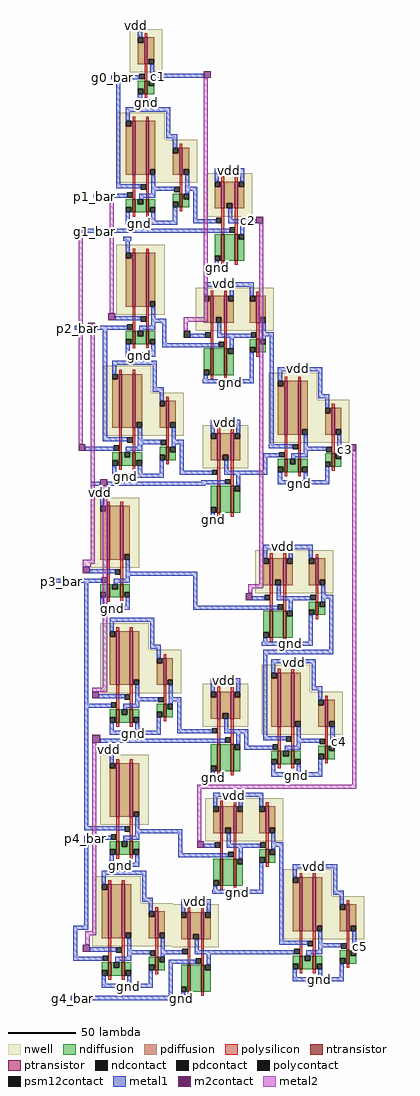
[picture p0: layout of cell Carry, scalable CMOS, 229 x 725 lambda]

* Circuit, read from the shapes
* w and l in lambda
.subckt Carry c1 c2 c3 c4 c5 g0_bar g1_bar g2_bar g3_bar g4_bar gnd p1_bar p2_bar p3_bar p4_bar vdd
M1 n1 p3_bar gnd c1 nfet w=10 l=2
M2 n2 p4_bar gnd c1 nfet w=10 l=2
M3 n3 p4_bar gnd c1 nfet w=10 l=2
M4 n4 p3_bar gnd c1 nfet w=10 l=2
M5 n5 g1_bar gnd c1 nfet w=10 l=2
M6 gnd p2_bar n1 c1 nfet w=10 l=2
M7 gnd g3_bar n2 c1 nfet w=10 l=2
M8 gnd p3_bar n3 c1 nfet w=10 l=2
M9 gnd g2_bar n4 c1 nfet w=10 l=2
M10 gnd p2_bar n5 c1 nfet w=10 l=2
M11 n6 p2_bar gnd c1 nfet w=10 l=2
M12 n7 p1_bar gnd c1 nfet w=10 l=2
M13 c1 g0_bar gnd c1 nfet w=10 l=2
M14 gnd p1_bar n6 c1 nfet w=10 l=2
M15 gnd g0_bar n7 c1 nfet w=10 l=2
M16 n8 n2 gnd c1 nfet w=10 l=2
M17 n9 n4 gnd c1 nfet w=10 l=2
M18 n10 n5 gnd c1 nfet w=10 l=2
M19 n11 n7 gnd c1 nfet w=10 l=2
M20 n12 n8 gnd c1 nfet w=20 l=2
M21 n13 g4_bar n12 c1 nfet w=20 l=2
M22 n14 c1 gnd c1 nfet w=20 l=2
M23 n15 n9 gnd c1 nfet w=20 l=2
M24 n16 n10 gnd c1 nfet w=20 l=2
M25 n17 c3 gnd c1 nfet w=20 l=2
M26 n18 n11 gnd c1 nfet w=20 l=2
M27 n19 n6 n14 c1 nfet w=20 l=2
M28 n20 g3_bar n15 c1 nfet w=20 l=2
M29 n21 g2_bar n16 c1 nfet w=20 l=2
M30 n22 n3 n17 c1 nfet w=20 l=2
M31 c2 g1_bar n18 c1 nfet w=20 l=2
M32 n23 n19 gnd c1 nfet w=10 l=2
M33 n24 n22 gnd c1 nfet w=10 l=2
M34 n25 c2 gnd c1 nfet w=20 l=2
M35 n26 n20 gnd c1 nfet w=10 l=2
M36 n27 n1 n25 c1 nfet w=20 l=2
M37 n28 n21 gnd c1 nfet w=10 l=2
M38 gnd n29 n26 c1 nfet w=10 l=2
M39 gnd n23 n28 c1 nfet w=10 l=2
M40 n30 n13 gnd c1 nfet w=10 l=2
M41 gnd n24 n30 c1 nfet w=10 l=2
M42 n29 n27 gnd c1 nfet w=10 l=2
M43 c4 n26 gnd c1 nfet w=10 l=2
M44 c3 n28 gnd c1 nfet w=10 l=2
M45 c5 n30 gnd c1 nfet w=10 l=2
M46 n31 p3_bar vdd n32 pfet w=40 l=2
M47 n33 p4_bar vdd n34 pfet w=40 l=2
M48 n35 p4_bar vdd n36 pfet w=40 l=2
M49 n37 p3_bar vdd n38 pfet w=40 l=2
M50 n39 g1_bar vdd n40 pfet w=40 l=2
M51 n1 p2_bar n31 n32 pfet w=40 l=2
M52 n2 g3_bar n33 n34 pfet w=40 l=2
M53 n3 p3_bar n35 n36 pfet w=40 l=2
M54 n4 g2_bar n37 n38 pfet w=40 l=2
M55 n5 p2_bar n39 n40 pfet w=40 l=2
M56 n41 p2_bar vdd n42 pfet w=40 l=2
M57 n43 p1_bar vdd n44 pfet w=40 l=2
M58 c1 g0_bar vdd n45 pfet w=20 l=2
M59 n6 p1_bar n41 n42 pfet w=40 l=2
M60 n7 g0_bar n43 n44 pfet w=40 l=2
M61 n8 n2 vdd n34 pfet w=20 l=2
M62 n9 n4 vdd n38 pfet w=20 l=2
M63 n10 n5 vdd n40 pfet w=20 l=2
M64 n11 n7 vdd n44 pfet w=20 l=2
M65 n13 n8 vdd n34 pfet w=20 l=2
M66 vdd g4_bar n13 n34 pfet w=20 l=2
M67 n19 c1 vdd n46 pfet w=20 l=2
M68 n20 n9 vdd n47 pfet w=20 l=2
M69 n21 n10 vdd n48 pfet w=20 l=2
M70 n22 c3 vdd n49 pfet w=20 l=2
M71 c2 n11 vdd n50 pfet w=20 l=2
M72 vdd n6 n19 n46 pfet w=20 l=2
M73 vdd g3_bar n20 n47 pfet w=20 l=2
M74 vdd g2_bar n21 n48 pfet w=20 l=2
M75 vdd n3 n22 n49 pfet w=20 l=2
M76 vdd g1_bar c2 n50 pfet w=20 l=2
M77 n23 n19 vdd n46 pfet w=20 l=2
M78 n24 n22 vdd n49 pfet w=20 l=2
M79 n27 c2 vdd n51 pfet w=20 l=2
M80 n52 n20 vdd n53 pfet w=40 l=2
M81 vdd n1 n27 n51 pfet w=20 l=2
M82 n54 n21 vdd n55 pfet w=40 l=2
M83 n26 n29 n52 n53 pfet w=40 l=2
M84 n28 n23 n54 n55 pfet w=40 l=2
M85 n56 n13 vdd n57 pfet w=40 l=2
M86 n30 n24 n56 n57 pfet w=40 l=2
M87 n29 n27 vdd n51 pfet w=20 l=2
M88 c4 n26 vdd n53 pfet w=20 l=2
M89 c3 n28 vdd n55 pfet w=20 l=2
M90 c5 n30 vdd n57 pfet w=20 l=2
.ends

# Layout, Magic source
magic
tech scmos
<< nwell >>
rect 0 83 24 115
rect -10 33 26 53
rect -10 1 50 33
rect 57 -24 91 8
rect -10 -97 26 -45
rect 49 -109 107 -77
rect -20 -155 16 -135
rect -20 -187 40 -155
rect 103 -160 139 -140
rect 54 -211 88 -179
rect 103 -192 163 -160
rect -29 -285 7 -233
rect 93 -304 151 -272
rect -22 -346 14 -326
rect -22 -378 38 -346
rect 54 -403 88 -371
rect 98 -377 134 -357
rect 98 -409 158 -377
rect -22 -476 14 -424
rect 56 -488 114 -456
rect -28 -534 8 -514
rect 114 -529 150 -509
rect -28 -535 32 -534
rect -28 -566 66 -535
rect 114 -561 174 -529
rect 32 -567 66 -566
<< ntransistor >>
rect 11 67 13 77
rect 2 -21 4 -11
rect 12 -21 14 -11
rect 37 -17 39 -7
rect 68 -57 70 -37
rect 78 -57 80 -37
rect 2 -119 4 -109
rect 12 -119 14 -109
rect 60 -142 62 -122
rect 70 -142 72 -122
rect 94 -125 96 -115
rect -8 -209 -6 -199
rect 2 -209 4 -199
rect 27 -205 29 -195
rect 115 -214 117 -204
rect 125 -214 127 -204
rect 150 -210 152 -200
rect 65 -244 67 -224
rect 75 -244 77 -224
rect -17 -307 -15 -297
rect -7 -307 -5 -297
rect 104 -337 106 -317
rect 114 -337 116 -317
rect 138 -320 140 -310
rect -10 -400 -8 -390
rect 0 -400 2 -390
rect 25 -396 27 -386
rect 65 -436 67 -416
rect 75 -436 77 -416
rect 110 -431 112 -421
rect 120 -431 122 -421
rect 145 -427 147 -417
rect -10 -498 -8 -488
rect 0 -498 2 -488
rect 67 -521 69 -501
rect 77 -521 79 -501
rect 101 -504 103 -494
rect -16 -588 -14 -578
rect -6 -588 -4 -578
rect 19 -584 21 -574
rect 43 -600 45 -580
rect 53 -600 55 -580
rect 126 -583 128 -573
rect 136 -583 138 -573
rect 161 -579 163 -569
<< ptransistor >>
rect 11 89 13 109
rect 2 7 4 47
rect 12 7 14 47
rect 37 7 39 27
rect 68 -18 70 2
rect 78 -18 80 2
rect 2 -91 4 -51
rect 12 -91 14 -51
rect 60 -103 62 -83
rect 70 -103 72 -83
rect 94 -103 96 -83
rect -8 -181 -6 -141
rect 2 -181 4 -141
rect 27 -181 29 -161
rect 65 -205 67 -185
rect 75 -205 77 -185
rect 115 -186 117 -146
rect 125 -186 127 -146
rect 150 -186 152 -166
rect -17 -279 -15 -239
rect -7 -279 -5 -239
rect 104 -298 106 -278
rect 114 -298 116 -278
rect 138 -298 140 -278
rect -10 -372 -8 -332
rect 0 -372 2 -332
rect 25 -372 27 -352
rect 65 -397 67 -377
rect 75 -397 77 -377
rect 110 -403 112 -363
rect 120 -403 122 -363
rect 145 -403 147 -383
rect -10 -470 -8 -430
rect 0 -470 2 -430
rect 67 -482 69 -462
rect 77 -482 79 -462
rect 101 -482 103 -462
rect -16 -560 -14 -520
rect -6 -560 -4 -520
rect 19 -560 21 -540
rect 43 -561 45 -541
rect 53 -561 55 -541
rect 126 -555 128 -515
rect 136 -555 138 -515
rect 161 -555 163 -535
<< ndiffusion >>
rect 6 71 11 77
rect 10 67 11 71
rect 13 73 14 77
rect 13 67 18 73
rect -3 -17 2 -11
rect 1 -21 2 -17
rect 4 -15 6 -11
rect 10 -15 12 -11
rect 4 -21 12 -15
rect 14 -17 19 -11
rect 32 -13 37 -7
rect 36 -17 37 -13
rect 39 -11 40 -7
rect 39 -17 44 -11
rect 14 -21 15 -17
rect 63 -53 68 -37
rect 67 -57 68 -53
rect 70 -57 78 -37
rect 80 -41 81 -37
rect 80 -57 85 -41
rect -3 -115 2 -109
rect 1 -119 2 -115
rect 4 -113 6 -109
rect 10 -113 12 -109
rect 4 -119 12 -113
rect 14 -115 19 -109
rect 14 -119 15 -115
rect 89 -121 94 -115
rect 55 -138 60 -122
rect 59 -142 60 -138
rect 62 -142 70 -122
rect 72 -126 73 -122
rect 93 -125 94 -121
rect 96 -119 97 -115
rect 96 -125 101 -119
rect 72 -142 77 -126
rect -13 -205 -8 -199
rect -9 -209 -8 -205
rect -6 -203 -4 -199
rect 0 -203 2 -199
rect -6 -209 2 -203
rect 4 -205 9 -199
rect 22 -201 27 -195
rect 26 -205 27 -201
rect 29 -199 30 -195
rect 29 -205 34 -199
rect 4 -209 5 -205
rect 110 -210 115 -204
rect 114 -214 115 -210
rect 117 -208 119 -204
rect 123 -208 125 -204
rect 117 -214 125 -208
rect 127 -210 132 -204
rect 145 -206 150 -200
rect 149 -210 150 -206
rect 152 -204 153 -200
rect 152 -210 157 -204
rect 127 -214 128 -210
rect 60 -240 65 -224
rect 64 -244 65 -240
rect 67 -244 75 -224
rect 77 -228 78 -224
rect 77 -244 82 -228
rect -22 -303 -17 -297
rect -18 -307 -17 -303
rect -15 -301 -13 -297
rect -9 -301 -7 -297
rect -15 -307 -7 -301
rect -5 -303 0 -297
rect -5 -307 -4 -303
rect 133 -316 138 -310
rect 99 -333 104 -317
rect 103 -337 104 -333
rect 106 -337 114 -317
rect 116 -321 117 -317
rect 137 -320 138 -316
rect 140 -314 141 -310
rect 140 -320 145 -314
rect 116 -337 121 -321
rect -15 -396 -10 -390
rect -11 -400 -10 -396
rect -8 -394 -6 -390
rect -2 -394 0 -390
rect -8 -400 0 -394
rect 2 -396 7 -390
rect 20 -392 25 -386
rect 24 -396 25 -392
rect 27 -390 28 -386
rect 27 -396 32 -390
rect 2 -400 3 -396
rect 60 -432 65 -416
rect 64 -436 65 -432
rect 67 -436 75 -416
rect 77 -420 78 -416
rect 77 -436 82 -420
rect 105 -427 110 -421
rect 109 -431 110 -427
rect 112 -425 114 -421
rect 118 -425 120 -421
rect 112 -431 120 -425
rect 122 -427 127 -421
rect 140 -423 145 -417
rect 144 -427 145 -423
rect 147 -421 148 -417
rect 147 -427 152 -421
rect 122 -431 123 -427
rect -15 -494 -10 -488
rect -11 -498 -10 -494
rect -8 -492 -6 -488
rect -2 -492 0 -488
rect -8 -498 0 -492
rect 2 -494 7 -488
rect 2 -498 3 -494
rect 96 -500 101 -494
rect 62 -517 67 -501
rect 66 -521 67 -517
rect 69 -521 77 -501
rect 79 -505 80 -501
rect 100 -504 101 -500
rect 103 -498 104 -494
rect 103 -504 108 -498
rect 79 -521 84 -505
rect -21 -584 -16 -578
rect -17 -588 -16 -584
rect -14 -582 -12 -578
rect -8 -582 -6 -578
rect -14 -588 -6 -582
rect -4 -584 1 -578
rect 14 -580 19 -574
rect 18 -584 19 -580
rect 21 -578 22 -574
rect 21 -584 26 -578
rect 121 -579 126 -573
rect -4 -588 -3 -584
rect 38 -596 43 -580
rect 42 -600 43 -596
rect 45 -600 53 -580
rect 55 -584 56 -580
rect 125 -583 126 -579
rect 128 -577 130 -573
rect 134 -577 136 -573
rect 128 -583 136 -577
rect 138 -579 143 -573
rect 156 -575 161 -569
rect 160 -579 161 -575
rect 163 -573 164 -569
rect 163 -579 168 -573
rect 138 -583 139 -579
rect 55 -600 60 -584
<< pdiffusion >>
rect 10 105 11 109
rect 6 89 11 105
rect 13 93 18 109
rect 13 89 14 93
rect 1 43 2 47
rect -3 7 2 43
rect 4 7 12 47
rect 14 11 19 47
rect 14 7 15 11
rect 36 23 37 27
rect 32 7 37 23
rect 39 11 44 27
rect 39 7 40 11
rect 67 -2 68 2
rect 63 -18 68 -2
rect 70 -14 78 2
rect 70 -18 72 -14
rect 76 -18 78 -14
rect 80 -2 81 2
rect 80 -18 85 -2
rect 1 -55 2 -51
rect -3 -91 2 -55
rect 4 -91 12 -51
rect 14 -87 19 -51
rect 14 -91 15 -87
rect 59 -87 60 -83
rect 55 -103 60 -87
rect 62 -99 70 -83
rect 62 -103 64 -99
rect 68 -103 70 -99
rect 72 -87 73 -83
rect 72 -103 77 -87
rect 93 -87 94 -83
rect 89 -103 94 -87
rect 96 -99 101 -83
rect 96 -103 97 -99
rect -9 -145 -8 -141
rect -13 -181 -8 -145
rect -6 -181 2 -141
rect 4 -177 9 -141
rect 114 -150 115 -146
rect 4 -181 5 -177
rect 26 -165 27 -161
rect 22 -181 27 -165
rect 29 -177 34 -161
rect 29 -181 30 -177
rect 64 -189 65 -185
rect 60 -205 65 -189
rect 67 -201 75 -185
rect 67 -205 69 -201
rect 73 -205 75 -201
rect 77 -189 78 -185
rect 110 -186 115 -150
rect 117 -186 125 -146
rect 127 -182 132 -146
rect 127 -186 128 -182
rect 149 -170 150 -166
rect 145 -186 150 -170
rect 152 -182 157 -166
rect 152 -186 153 -182
rect 77 -205 82 -189
rect -18 -243 -17 -239
rect -22 -279 -17 -243
rect -15 -279 -7 -239
rect -5 -275 0 -239
rect -5 -279 -4 -275
rect 103 -282 104 -278
rect 99 -298 104 -282
rect 106 -294 114 -278
rect 106 -298 108 -294
rect 112 -298 114 -294
rect 116 -282 117 -278
rect 116 -298 121 -282
rect 137 -282 138 -278
rect 133 -298 138 -282
rect 140 -294 145 -278
rect 140 -298 141 -294
rect -11 -336 -10 -332
rect -15 -372 -10 -336
rect -8 -372 0 -332
rect 2 -368 7 -332
rect 2 -372 3 -368
rect 24 -356 25 -352
rect 20 -372 25 -356
rect 27 -368 32 -352
rect 27 -372 28 -368
rect 109 -367 110 -363
rect 64 -381 65 -377
rect 60 -397 65 -381
rect 67 -393 75 -377
rect 67 -397 69 -393
rect 73 -397 75 -393
rect 77 -381 78 -377
rect 77 -397 82 -381
rect 105 -403 110 -367
rect 112 -403 120 -363
rect 122 -399 127 -363
rect 122 -403 123 -399
rect 144 -387 145 -383
rect 140 -403 145 -387
rect 147 -399 152 -383
rect 147 -403 148 -399
rect -11 -434 -10 -430
rect -15 -470 -10 -434
rect -8 -470 0 -430
rect 2 -466 7 -430
rect 2 -470 3 -466
rect 66 -466 67 -462
rect 62 -482 67 -466
rect 69 -478 77 -462
rect 69 -482 71 -478
rect 75 -482 77 -478
rect 79 -466 80 -462
rect 79 -482 84 -466
rect 100 -466 101 -462
rect 96 -482 101 -466
rect 103 -478 108 -462
rect 103 -482 104 -478
rect -17 -524 -16 -520
rect -21 -560 -16 -524
rect -14 -560 -6 -520
rect -4 -556 1 -520
rect 125 -519 126 -515
rect -4 -560 -3 -556
rect 18 -544 19 -540
rect 14 -560 19 -544
rect 21 -556 26 -540
rect 21 -560 22 -556
rect 42 -545 43 -541
rect 38 -561 43 -545
rect 45 -557 53 -541
rect 45 -561 47 -557
rect 51 -561 53 -557
rect 55 -545 56 -541
rect 55 -561 60 -545
rect 121 -555 126 -519
rect 128 -555 136 -515
rect 138 -551 143 -515
rect 138 -555 139 -551
rect 160 -539 161 -535
rect 156 -555 161 -539
rect 163 -551 168 -535
rect 163 -555 164 -551
<< ndcontact >>
rect 6 67 10 71
rect 14 73 18 77
rect -3 -21 1 -17
rect 6 -15 10 -11
rect 32 -17 36 -13
rect 40 -11 44 -7
rect 15 -21 19 -17
rect 63 -57 67 -53
rect 81 -41 85 -37
rect -3 -119 1 -115
rect 6 -113 10 -109
rect 15 -119 19 -115
rect 55 -142 59 -138
rect 73 -126 77 -122
rect 89 -125 93 -121
rect 97 -119 101 -115
rect -13 -209 -9 -205
rect -4 -203 0 -199
rect 22 -205 26 -201
rect 30 -199 34 -195
rect 5 -209 9 -205
rect 110 -214 114 -210
rect 119 -208 123 -204
rect 145 -210 149 -206
rect 153 -204 157 -200
rect 128 -214 132 -210
rect 60 -244 64 -240
rect 78 -228 82 -224
rect -22 -307 -18 -303
rect -13 -301 -9 -297
rect -4 -307 0 -303
rect 99 -337 103 -333
rect 117 -321 121 -317
rect 133 -320 137 -316
rect 141 -314 145 -310
rect -15 -400 -11 -396
rect -6 -394 -2 -390
rect 20 -396 24 -392
rect 28 -390 32 -386
rect 3 -400 7 -396
rect 60 -436 64 -432
rect 78 -420 82 -416
rect 105 -431 109 -427
rect 114 -425 118 -421
rect 140 -427 144 -423
rect 148 -421 152 -417
rect 123 -431 127 -427
rect -15 -498 -11 -494
rect -6 -492 -2 -488
rect 3 -498 7 -494
rect 62 -521 66 -517
rect 80 -505 84 -501
rect 96 -504 100 -500
rect 104 -498 108 -494
rect -21 -588 -17 -584
rect -12 -582 -8 -578
rect 14 -584 18 -580
rect 22 -578 26 -574
rect -3 -588 1 -584
rect 38 -600 42 -596
rect 56 -584 60 -580
rect 121 -583 125 -579
rect 130 -577 134 -573
rect 156 -579 160 -575
rect 164 -573 168 -569
rect 139 -583 143 -579
<< pdcontact >>
rect 6 105 10 109
rect 14 89 18 93
rect -3 43 1 47
rect 15 7 19 11
rect 32 23 36 27
rect 40 7 44 11
rect 63 -2 67 2
rect 72 -18 76 -14
rect 81 -2 85 2
rect -3 -55 1 -51
rect 15 -91 19 -87
rect 55 -87 59 -83
rect 64 -103 68 -99
rect 73 -87 77 -83
rect 89 -87 93 -83
rect 97 -103 101 -99
rect -13 -145 -9 -141
rect 110 -150 114 -146
rect 5 -181 9 -177
rect 22 -165 26 -161
rect 30 -181 34 -177
rect 60 -189 64 -185
rect 69 -205 73 -201
rect 78 -189 82 -185
rect 128 -186 132 -182
rect 145 -170 149 -166
rect 153 -186 157 -182
rect -22 -243 -18 -239
rect -4 -279 0 -275
rect 99 -282 103 -278
rect 108 -298 112 -294
rect 117 -282 121 -278
rect 133 -282 137 -278
rect 141 -298 145 -294
rect -15 -336 -11 -332
rect 3 -372 7 -368
rect 20 -356 24 -352
rect 28 -372 32 -368
rect 105 -367 109 -363
rect 60 -381 64 -377
rect 69 -397 73 -393
rect 78 -381 82 -377
rect 123 -403 127 -399
rect 140 -387 144 -383
rect 148 -403 152 -399
rect -15 -434 -11 -430
rect 3 -470 7 -466
rect 62 -466 66 -462
rect 71 -482 75 -478
rect 80 -466 84 -462
rect 96 -466 100 -462
rect 104 -482 108 -478
rect -21 -524 -17 -520
rect 121 -519 125 -515
rect -3 -560 1 -556
rect 14 -544 18 -540
rect 22 -560 26 -556
rect 38 -545 42 -541
rect 47 -561 51 -557
rect 56 -545 60 -541
rect 139 -555 143 -551
rect 156 -539 160 -535
rect 164 -555 168 -551
<< polysilicon >>
rect 11 109 13 112
rect 11 77 13 89
rect 11 64 13 67
rect 2 47 4 50
rect 12 47 14 50
rect 37 27 39 30
rect 2 -11 4 7
rect 12 -11 14 7
rect 37 -7 39 7
rect 68 2 70 6
rect 78 2 80 6
rect 37 -20 39 -17
rect 2 -24 4 -21
rect 12 -24 14 -21
rect 68 -37 70 -18
rect 78 -37 80 -18
rect 2 -51 4 -48
rect 12 -51 14 -48
rect 68 -60 70 -57
rect 78 -60 80 -57
rect 60 -83 62 -79
rect 70 -83 72 -79
rect 94 -83 96 -80
rect 2 -109 4 -91
rect 12 -109 14 -91
rect 2 -122 4 -119
rect 12 -122 14 -119
rect 60 -122 62 -103
rect 70 -122 72 -103
rect 94 -115 96 -103
rect -8 -141 -6 -138
rect 2 -141 4 -138
rect 94 -128 96 -125
rect 60 -145 62 -142
rect 70 -145 72 -142
rect 115 -146 117 -143
rect 125 -146 127 -143
rect 27 -161 29 -158
rect -8 -199 -6 -181
rect 2 -199 4 -181
rect 27 -195 29 -181
rect 65 -185 67 -181
rect 75 -185 77 -181
rect 150 -166 152 -163
rect 115 -204 117 -186
rect 125 -204 127 -186
rect 150 -200 152 -186
rect 27 -208 29 -205
rect -8 -212 -6 -209
rect 2 -212 4 -209
rect 65 -224 67 -205
rect 75 -224 77 -205
rect 150 -213 152 -210
rect 115 -217 117 -214
rect 125 -217 127 -214
rect -17 -239 -15 -236
rect -7 -239 -5 -236
rect 65 -247 67 -244
rect 75 -247 77 -244
rect 104 -278 106 -274
rect 114 -278 116 -274
rect 138 -278 140 -275
rect -17 -297 -15 -279
rect -7 -297 -5 -279
rect -17 -310 -15 -307
rect -7 -310 -5 -307
rect 104 -317 106 -298
rect 114 -317 116 -298
rect 138 -310 140 -298
rect -10 -332 -8 -329
rect 0 -332 2 -329
rect 138 -323 140 -320
rect 104 -340 106 -337
rect 114 -340 116 -337
rect 25 -352 27 -349
rect 110 -363 112 -360
rect 120 -363 122 -360
rect -10 -390 -8 -372
rect 0 -390 2 -372
rect 25 -386 27 -372
rect 65 -377 67 -373
rect 75 -377 77 -373
rect 25 -399 27 -396
rect -10 -403 -8 -400
rect 0 -403 2 -400
rect 65 -416 67 -397
rect 75 -416 77 -397
rect 145 -383 147 -380
rect -10 -430 -8 -427
rect 0 -430 2 -427
rect 110 -421 112 -403
rect 120 -421 122 -403
rect 145 -417 147 -403
rect 145 -430 147 -427
rect 110 -434 112 -431
rect 120 -434 122 -431
rect 65 -439 67 -436
rect 75 -439 77 -436
rect 67 -462 69 -458
rect 77 -462 79 -458
rect 101 -462 103 -459
rect -10 -488 -8 -470
rect 0 -488 2 -470
rect -10 -501 -8 -498
rect 0 -501 2 -498
rect 67 -501 69 -482
rect 77 -501 79 -482
rect 101 -494 103 -482
rect -16 -520 -14 -517
rect -6 -520 -4 -517
rect 101 -507 103 -504
rect 126 -515 128 -512
rect 136 -515 138 -512
rect 67 -524 69 -521
rect 77 -524 79 -521
rect 19 -540 21 -537
rect 43 -541 45 -537
rect 53 -541 55 -537
rect -16 -578 -14 -560
rect -6 -578 -4 -560
rect 19 -574 21 -560
rect 161 -535 163 -532
rect 43 -580 45 -561
rect 53 -580 55 -561
rect 126 -573 128 -555
rect 136 -573 138 -555
rect 161 -569 163 -555
rect 19 -587 21 -584
rect -16 -591 -14 -588
rect -6 -591 -4 -588
rect 161 -582 163 -579
rect 126 -586 128 -583
rect 136 -586 138 -583
rect 43 -603 45 -600
rect 53 -603 55 -600
<< polycontact >>
rect 7 78 11 82
rect -2 -10 2 -6
rect 8 -4 12 0
rect 33 -6 37 -2
rect 64 -29 68 -25
rect 74 -36 78 -32
rect -2 -108 2 -104
rect 8 -102 12 -98
rect 56 -114 60 -110
rect 66 -121 70 -117
rect 90 -114 94 -110
rect -12 -198 -8 -194
rect -2 -192 2 -188
rect 23 -194 27 -190
rect 111 -203 115 -199
rect 121 -197 125 -193
rect 146 -199 150 -195
rect 61 -216 65 -212
rect 71 -223 75 -219
rect -21 -296 -17 -292
rect -11 -290 -7 -286
rect 100 -309 104 -305
rect 110 -316 114 -312
rect 134 -309 138 -305
rect -14 -389 -10 -385
rect -4 -383 0 -379
rect 21 -385 25 -381
rect 61 -408 65 -404
rect 71 -415 75 -411
rect 106 -420 110 -416
rect 116 -414 120 -410
rect 141 -416 145 -412
rect -14 -487 -10 -483
rect -4 -481 0 -477
rect 63 -493 67 -489
rect 73 -500 77 -496
rect 97 -493 101 -489
rect -20 -577 -16 -573
rect -10 -571 -6 -567
rect 15 -573 19 -569
rect 39 -572 43 -568
rect 49 -579 53 -575
rect 122 -572 126 -568
rect 132 -566 136 -562
rect 157 -568 161 -564
<< metal1 >>
rect 1 116 11 119
rect 6 109 9 116
rect 15 82 18 89
rect -14 78 7 81
rect 15 79 55 82
rect -10 0 -7 78
rect 15 77 18 79
rect 6 63 9 67
rect 6 60 16 63
rect -3 54 30 57
rect -3 47 0 54
rect 27 37 30 54
rect 27 34 35 37
rect 32 27 35 34
rect -10 -3 8 0
rect 16 -2 19 7
rect 41 -2 44 7
rect 63 9 85 12
rect 63 2 66 9
rect 82 2 85 9
rect 16 -5 33 -2
rect -27 -10 -17 -7
rect -12 -10 -2 -7
rect 16 -7 19 -5
rect 41 -5 50 -2
rect 41 -7 44 -5
rect 7 -10 19 -7
rect 7 -11 10 -10
rect -3 -27 0 -21
rect 16 -27 19 -21
rect 32 -27 35 -17
rect -3 -30 35 -27
rect 47 -26 50 -5
rect 47 -29 64 -26
rect 73 -26 76 -18
rect 73 -29 94 -26
rect -35 -36 74 -33
rect 82 -37 85 -29
rect -5 -42 1 -39
rect -3 -51 0 -42
rect 63 -60 66 -57
rect 62 -63 67 -60
rect 55 -76 92 -73
rect 55 -83 58 -76
rect 74 -83 77 -76
rect 89 -83 92 -76
rect -11 -101 8 -98
rect 16 -100 19 -91
rect 16 -103 27 -100
rect -41 -108 -31 -105
rect -26 -108 -2 -105
rect 16 -105 19 -103
rect 7 -108 19 -105
rect -20 -188 -17 -108
rect 7 -109 10 -108
rect -3 -125 0 -119
rect 16 -125 19 -119
rect 24 -118 27 -103
rect 45 -114 56 -111
rect 65 -111 68 -103
rect 98 -110 101 -103
rect 65 -114 90 -111
rect 98 -113 107 -110
rect 24 -121 66 -118
rect 74 -122 77 -114
rect 98 -115 101 -113
rect -3 -128 19 -125
rect -13 -134 20 -131
rect -13 -141 -10 -134
rect 17 -151 20 -134
rect 55 -145 58 -142
rect 89 -145 92 -125
rect 54 -148 92 -145
rect 17 -154 25 -151
rect 22 -161 25 -154
rect -20 -191 -2 -188
rect 6 -190 9 -181
rect 31 -190 34 -181
rect 60 -178 82 -175
rect 60 -185 63 -178
rect 79 -185 82 -178
rect 6 -193 23 -190
rect -33 -198 -12 -195
rect 6 -195 9 -193
rect 31 -193 40 -190
rect 104 -193 107 -113
rect 110 -139 143 -136
rect 110 -146 113 -139
rect 140 -156 143 -139
rect 140 -159 148 -156
rect 145 -166 148 -159
rect 31 -195 34 -193
rect -3 -198 9 -195
rect -3 -199 0 -198
rect -13 -215 -10 -209
rect 6 -215 9 -209
rect 22 -215 25 -205
rect -13 -218 25 -215
rect 37 -213 40 -193
rect 103 -196 121 -193
rect 129 -195 132 -186
rect 154 -195 157 -186
rect 129 -198 146 -195
rect 37 -216 61 -213
rect 70 -213 73 -205
rect 99 -203 111 -200
rect 129 -200 132 -198
rect 154 -198 163 -195
rect 154 -200 157 -198
rect 120 -203 132 -200
rect 99 -213 102 -203
rect 120 -204 123 -203
rect 70 -216 102 -213
rect -29 -224 -22 -221
rect 53 -221 71 -220
rect -17 -223 71 -221
rect -17 -224 56 -223
rect 79 -224 82 -216
rect 110 -220 113 -214
rect 129 -220 132 -214
rect 145 -220 148 -210
rect 110 -223 148 -220
rect -24 -230 -18 -227
rect -22 -239 -19 -230
rect 60 -247 63 -244
rect 59 -250 64 -247
rect 99 -271 136 -268
rect -30 -289 -11 -286
rect -3 -288 0 -279
rect 99 -278 102 -271
rect 118 -278 121 -271
rect 133 -278 136 -271
rect -3 -291 50 -288
rect -55 -296 -21 -293
rect -3 -293 0 -291
rect -12 -296 0 -293
rect -34 -386 -31 -296
rect -12 -297 -9 -296
rect -22 -313 -19 -307
rect -3 -313 0 -307
rect -22 -316 0 -313
rect 47 -313 50 -291
rect 91 -309 100 -306
rect 109 -306 112 -298
rect 142 -305 145 -298
rect 109 -309 134 -306
rect 142 -308 151 -305
rect 47 -316 110 -313
rect 118 -317 121 -309
rect 142 -310 145 -308
rect -15 -325 18 -322
rect -15 -332 -12 -325
rect 15 -342 18 -325
rect 99 -340 102 -337
rect 133 -340 136 -320
rect 15 -345 23 -342
rect 98 -343 136 -340
rect 20 -352 23 -345
rect 148 -346 151 -308
rect 99 -349 151 -346
rect -23 -382 -4 -379
rect 4 -381 7 -372
rect 29 -381 32 -372
rect 60 -370 82 -367
rect 60 -377 63 -370
rect 79 -377 82 -370
rect 4 -384 21 -381
rect -34 -389 -14 -386
rect 4 -386 7 -384
rect 29 -384 38 -381
rect 29 -386 32 -384
rect -5 -389 7 -386
rect -34 -477 -31 -389
rect -5 -390 -2 -389
rect -15 -406 -12 -400
rect 4 -406 7 -400
rect 20 -406 23 -396
rect -15 -409 23 -406
rect 35 -405 38 -384
rect 35 -408 61 -405
rect 70 -405 73 -397
rect 70 -408 88 -405
rect -22 -415 71 -412
rect 79 -416 82 -408
rect -17 -421 -11 -418
rect 85 -417 88 -408
rect 99 -410 102 -349
rect 105 -356 138 -353
rect 105 -363 108 -356
rect 135 -373 138 -356
rect 135 -376 143 -373
rect 140 -383 143 -376
rect 99 -413 116 -410
rect 124 -412 127 -403
rect 149 -412 152 -403
rect 124 -415 141 -412
rect 85 -420 106 -417
rect 124 -417 127 -415
rect 149 -415 158 -412
rect 149 -417 152 -415
rect 115 -420 127 -417
rect 115 -421 118 -420
rect -15 -430 -12 -421
rect 60 -439 63 -436
rect 105 -437 108 -431
rect 124 -437 127 -431
rect 140 -437 143 -427
rect 59 -442 64 -439
rect 105 -440 143 -437
rect 62 -455 99 -452
rect 62 -462 65 -455
rect 81 -462 84 -455
rect 96 -462 99 -455
rect -34 -480 -4 -477
rect 4 -479 7 -470
rect 4 -482 39 -479
rect -34 -487 -14 -484
rect 4 -484 7 -482
rect -5 -487 7 -484
rect -34 -551 -31 -487
rect -5 -488 -2 -487
rect -15 -504 -12 -498
rect 4 -504 7 -498
rect 36 -497 39 -482
rect 55 -493 63 -490
rect 72 -490 75 -482
rect 105 -489 108 -482
rect 72 -493 97 -490
rect 105 -492 114 -489
rect 36 -500 73 -497
rect 81 -501 84 -493
rect 105 -494 108 -492
rect -15 -507 7 -504
rect -21 -513 12 -510
rect -21 -520 -18 -513
rect 9 -530 12 -513
rect 62 -524 65 -521
rect 96 -524 99 -504
rect 61 -527 99 -524
rect 9 -533 17 -530
rect 14 -540 17 -533
rect 38 -534 60 -531
rect 38 -541 41 -534
rect 57 -541 60 -534
rect -42 -554 -31 -551
rect -42 -574 -39 -554
rect -30 -570 -10 -567
rect -2 -569 1 -560
rect 23 -569 26 -560
rect -2 -572 15 -569
rect -42 -577 -20 -574
rect -2 -574 1 -572
rect 23 -572 39 -569
rect 48 -569 51 -561
rect 111 -562 114 -492
rect 121 -508 154 -505
rect 121 -515 124 -508
rect 151 -525 154 -508
rect 151 -528 159 -525
rect 156 -535 159 -528
rect 111 -565 132 -562
rect 140 -564 143 -555
rect 165 -564 168 -555
rect 140 -567 157 -564
rect 48 -572 122 -569
rect 140 -569 143 -567
rect 165 -567 174 -564
rect 165 -569 168 -567
rect 131 -572 143 -569
rect 23 -574 26 -572
rect -11 -577 1 -574
rect -11 -578 -8 -577
rect 29 -579 49 -576
rect -21 -594 -18 -588
rect -2 -594 1 -588
rect 14 -594 17 -584
rect -21 -597 17 -594
rect 29 -603 32 -579
rect 57 -580 60 -572
rect 131 -573 134 -572
rect 121 -589 124 -583
rect 140 -589 143 -583
rect 156 -589 159 -579
rect 121 -592 159 -589
rect 38 -603 41 -600
rect -44 -606 32 -603
rect 37 -606 42 -603
<< m2contact >>
rect 55 79 60 84
rect -17 -12 -12 -7
rect 94 -29 99 -24
rect -40 -38 -35 -33
rect -16 -101 -11 -96
rect -31 -108 -26 -103
rect -38 -198 -33 -193
rect 163 -198 168 -193
rect -22 -224 -17 -219
rect -35 -289 -30 -284
rect 86 -309 91 -304
rect -28 -382 -23 -377
rect -28 -415 -22 -409
rect 50 -493 55 -488
rect -35 -570 -30 -565
<< psm12contact >>
rect 40 -114 45 -109
<< metal2 >>
rect -38 -193 -35 -38
rect -15 -96 -12 -12
rect 55 -99 58 79
rect 40 -102 58 -99
rect -29 -279 -26 -108
rect 40 -109 43 -102
rect -35 -282 -26 -279
rect -35 -284 -29 -282
rect -20 -374 -17 -224
rect 96 -297 99 -29
rect 88 -300 99 -297
rect 88 -304 91 -300
rect -28 -377 -17 -374
rect -28 -555 -25 -415
rect 165 -446 168 -198
rect 50 -449 168 -446
rect 50 -488 53 -449
rect -33 -558 -25 -555
rect -33 -565 -30 -558
<< labels >>
rlabel metal1 5 118 5 118 4 vdd
rlabel metal1 12 61 12 61 1 gnd
rlabel metal1 21 80 21 80 7 c1
rlabel metal1 7 -29 7 -29 1 gnd
rlabel metal1 12 55 12 55 5 vdd
rlabel metal1 -13 79 -13 79 3 g0_bar
rlabel metal1 -26 -9 -26 -9 3 p1_bar
rlabel metal1 74 10 74 10 5 vdd
rlabel metal1 65 -62 65 -62 1 gnd
rlabel metal1 -26 -35 -26 -35 3 g1_bar
rlabel metal1 88 -27 88 -27 7 c2
rlabel metal1 -2 -40 -2 -40 5 vdd
rlabel metal1 7 -127 7 -127 1 gnd
rlabel metal1 -39 -107 -39 -107 3 p2_bar
rlabel metal1 -3 -217 -3 -217 1 gnd
rlabel metal1 2 -133 2 -133 5 vdd
rlabel metal1 70 -74 70 -74 1 vdd
rlabel metal1 75 -147 75 -147 1 gnd
rlabel metal1 62 -249 62 -249 1 gnd
rlabel metal1 71 -177 71 -177 5 vdd
rlabel metal1 -26 -223 -26 -223 1 g2_bar
rlabel metal1 125 -137 125 -137 1 vdd
rlabel metal1 126 -222 126 -222 1 gnd
rlabel metal1 -22 -229 -22 -229 1 vdd
rlabel metal1 -13 -315 -13 -315 1 gnd
rlabel metal1 -51 -295 -51 -295 3 p3_bar
rlabel metal1 -2 -324 -2 -324 1 vdd
rlabel metal1 3 -408 3 -408 1 gnd
rlabel metal1 70 -369 70 -369 1 vdd
rlabel metal1 62 -441 62 -441 1 gnd
rlabel metal1 160 -197 160 -197 7 c3
rlabel metal1 114 -269 114 -269 1 vdd
rlabel metal1 119 -341 119 -341 1 gnd
rlabel metal1 124 -439 124 -439 1 gnd
rlabel metal1 122 -355 122 -355 1 vdd
rlabel metal1 156 -414 156 -414 1 c4
rlabel metal1 -13 -414 -13 -414 1 g3_bar
rlabel metal1 -15 -420 -15 -420 1 vdd
rlabel metal1 -7 -506 -7 -506 1 gnd
rlabel metal1 -33 -486 -33 -486 1 p4_bar
rlabel metal1 -6 -512 -6 -512 1 vdd
rlabel metal1 -1 -596 -1 -596 1 gnd
rlabel metal1 -43 -605 -43 -605 1 g4_bar
rlabel metal1 78 -454 78 -454 1 vdd
rlabel metal1 80 -526 80 -526 1 gnd
rlabel metal1 38 -605 38 -605 1 gnd
rlabel metal1 49 -533 49 -533 1 vdd
rlabel metal1 141 -591 141 -591 1 gnd
rlabel metal1 137 -507 137 -507 1 vdd
rlabel metal1 171 -566 171 -566 7 c5
<< end >>
